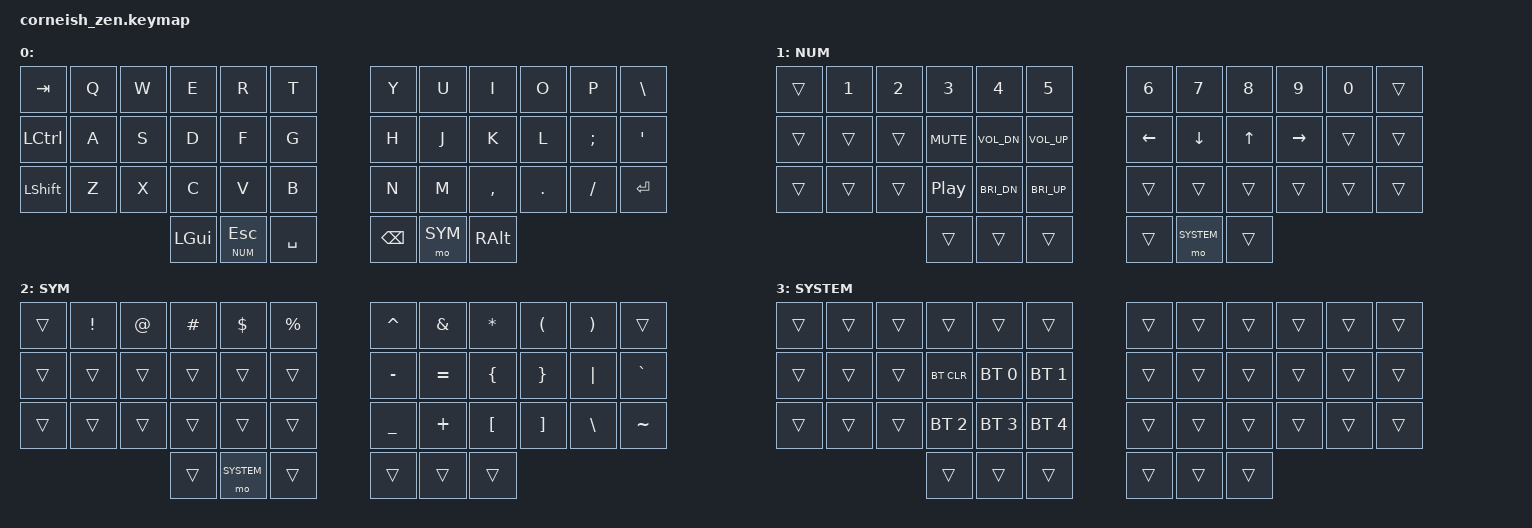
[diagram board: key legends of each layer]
// vim: ft=cpp

#include <behaviors.dtsi>
#include <dt-bindings/zmk/keys.h>
#include <dt-bindings/zmk/bt.h>

#define QWERTY 0
#define NUM 1
#define SYM 2
#define SYSTEM 3

/ {
  keymap {
    compatible = "zmk,keymap";

    default_layer {
      label = " ";
      bindings = <
        &kp TAB   &kp Q &kp W &kp E    &kp R       &kp T     &kp Y    &kp U   &kp I    &kp O   &kp P    &kp BSLH
        &kp LCTRL &kp A &kp S &kp D    &kp F       &kp G     &kp H    &kp J   &kp K    &kp L   &kp SEMI &kp SQT
        &kp LSHFT &kp Z &kp X &kp C    &kp V       &kp B     &kp N    &kp M   &kp CMMA &kp DOT &kp FSLH &kp ENTER
                              &kp LGUI &lt NUM ESC &kp SPC   &kp BSPC &mo SYM &kp RALT
      >;
    };

    num_layer {
      label = "NUM";
      bindings = <
       &trans &kp N1 &kp N2 &kp N3     &kp N4       &kp N5         &kp N6   &kp N7     &kp N8 &kp N9    &kp N0 &trans
       &trans &trans &trans &kp K_MUTE &kp K_VOL_DN &kp K_VOL_UP   &kp LEFT &kp DOWN   &kp UP &kp RIGHT &trans &trans
       &trans &trans &trans &kp C_PP   &kp C_BRI_DN &kp C_BRI_UP   &trans   &trans     &trans &trans    &trans &trans
                            &trans     &trans       &trans         &trans   &mo SYSTEM &trans
      >;
    };

    sym_layer {
      label = "SYM";
      bindings = <
        &trans &kp EXCL &kp AT &kp HASH &kp DLLR   &kp PRCNT   &kp CARET &kp AMPS  &kp STAR &kp LPAR &kp RPAR &trans
        &trans &trans   &trans &trans   &trans     &trans      &kp MINUS &kp EQUAL &kp LBRC &kp RBRC &kp PIPE &kp GRAVE
        &trans &trans   &trans &trans   &trans     &trans      &kp UNDER &kp PLUS  &kp LBKT &kp RBKT &kp BSLH &kp TILDE
                               &trans   &mo SYSTEM &trans      &trans    &trans    &trans
      >;
    };

    system_layer {
      label = "SYSTEM";
      bindings = <
        &trans &trans &trans &trans       &trans       &trans         &trans &trans &trans &trans &trans &trans
        &trans &trans &trans &bt BT_CLR   &bt BT_SEL 0 &bt BT_SEL 1   &trans &trans &trans &trans &trans &trans
        &trans &trans &trans &bt BT_SEL 2 &bt BT_SEL 3 &bt BT_SEL 4   &trans &trans &trans &trans &trans &trans
                             &trans       &trans       &trans         &trans &trans &trans
      >;
    };

  };
};
